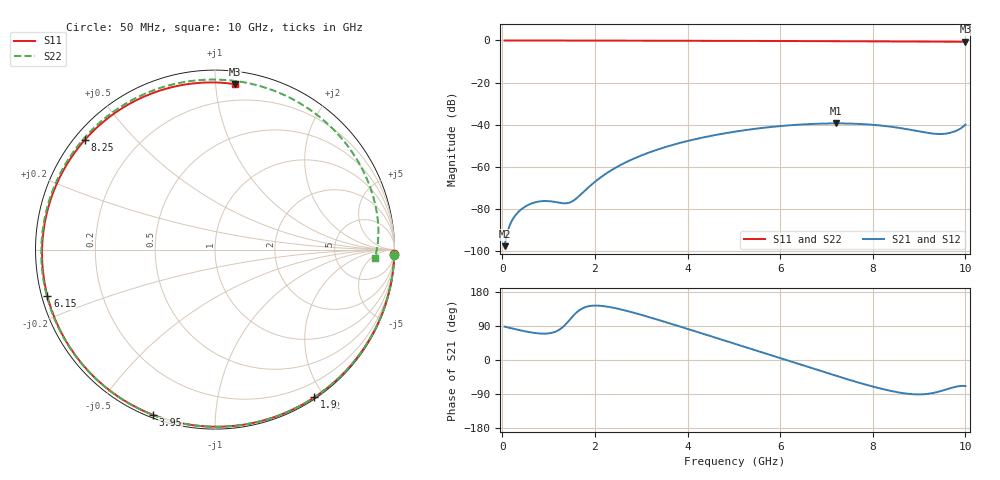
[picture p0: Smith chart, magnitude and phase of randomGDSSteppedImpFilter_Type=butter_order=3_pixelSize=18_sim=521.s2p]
! freq	dB(S11)	phase(S11)	dB(S12)	phase(S12)
!  dB(S21)	phase(S21)	dB(S22)	phase(S22)
!S-par simulation data
#  GHz  S  DB  R 50
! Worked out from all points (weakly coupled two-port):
!   200 points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, 50 MHz to 10 GHz, reference 50 ohm
!   highest |S21| = -39.46 dB at 7.2 GHz (marker M1); lowest = -97.8 dB at 50 MHz (marker M2)
!   lowest |S11| = -0.6 dB at 10 GHz (marker M3), VSWR 27.06, Z = 4.19 + j56.2 ohm
!   |S11| at or under -10 dB: nowhere
!   |S22| runs from -1.0 to 0.0 dB; largest |S21 - S12| = 0
!   S11 on the Smith chart (normalised r, x): 50 MHz: 1, -74; 1.9 GHz: 0.02, -1.88; 3.95 GHz: 0.01, -0.69; 6.15 GHz: 0.02, -0.14; 8.25 GHz: 0.03, +0.36; 10 GHz: 0.08, +1.12
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0.05  -0.00 -1.5  -97.83 88.0  -97.83 88.0  -0.00 -1.7
0.4  -0.01 -12.1  -80.50 78.0  -80.50 78.0  -0.02 -13.5
0.85  -0.03 -25.6  -76.45 69.7  -76.45 69.7  -0.03 -28.5
1.4  -0.05 -41.8  -77.39 98.3  -77.39 98.3  -0.06 -46.6
1.55  -0.06 -46.1  -75.97 119.1  -75.97 119.1  -0.06 -51.5
1.75  -0.07 -51.9  -72.13 137.3  -72.13 137.3  -0.07 -57.9
1.9  -0.07 -56.1  -69.09 142.6  -69.09 142.6  -0.08 -62.7
2.55  -0.09 -74.1  -59.28 133.8  -59.28 133.8  -0.11 -83.2
3.4  -0.12 -96.6  -51.55 104.7  -51.55 104.7  -0.14 -109.5
3.95  -0.15 -110.6  -48.09 84.0  -48.09 84.0  -0.17 -126.4
5.05  -0.20 -137.7  -43.28 41.7  -43.28 41.7  -0.24 -160.7
5.6  -0.24 -151.1  -41.64 20.3  -41.64 20.3  -0.28 -178.7
6.15  -0.27 -164.5  -40.44 -1.1  -40.44 -1.1  -0.33 162.3
6.7  -0.32 -178.3  -39.70 -22.4  -39.70 -22.4  -0.37 142.1
7.2  -0.36 168.9  -39.46 -41.5  -39.46 -41.5  -0.41 122.6
7.75  -0.41 154.1  -39.75 -61.6  -39.75 -61.6  -0.45 99.8
8.25  -0.46 139.9  -40.65 -77.8  -40.65 -77.8  -0.49 78.0
8.35  -0.47 137.0  -40.91 -80.5  -40.91 -80.5  -0.49 73.6
8.85  -0.52 121.8  -42.65 -90.1  -42.65 -90.1  -0.53 51.2
9.45  -0.58 102.2  -44.50 -82.7  -44.50 -82.7  -0.60 24.0
9.75  -0.61 91.9  -43.39 -71.9  -43.39 -71.9  -0.71 9.9
10  -0.64 83.1  -40.00 -68.5  -40.00 -68.5  -1.00 -3.1
